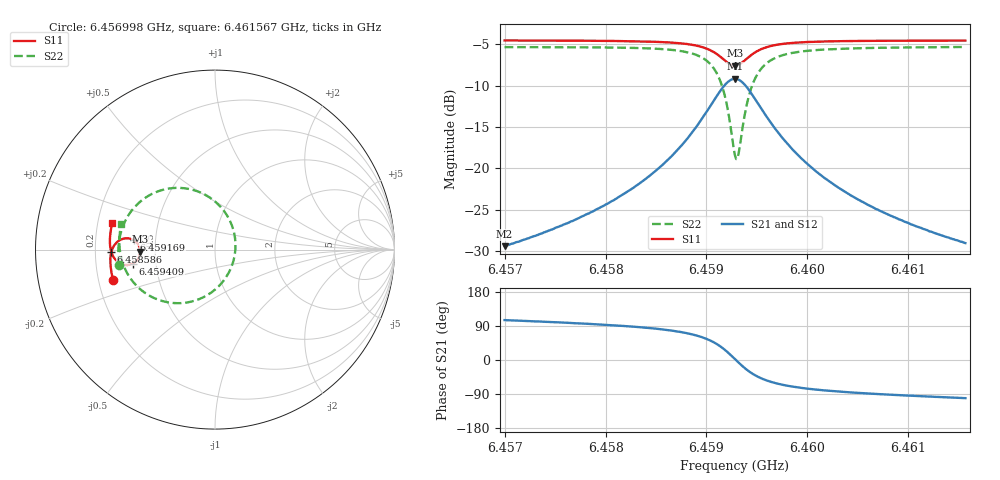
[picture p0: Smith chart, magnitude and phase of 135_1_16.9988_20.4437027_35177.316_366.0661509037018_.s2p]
#  HZ  S  RI  R  50.00
! Rohde & Schwarz Vector Network Analyzer
! Rohde-Schwarz,ZNB20-2Port,1311601062101988,3.16
! Created: UTC 3/20/2024, 10:58:06 PM
! freq[Hz]  re:S11  im:S11  re:S21  im:S21  re:S12  im:S12  re:S22  im:S22
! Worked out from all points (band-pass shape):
!   401 points, 6.456998 GHz to 6.461567 GHz, reference 50 ohm
!   highest |S21| = -9.18 dB at 6.459283 GHz (marker M1); lowest = -29.4 dB at 6.456998 GHz (marker M2)
!   |S21| within 3 dB of the highest: 6.459054 GHz to 6.459511 GHz (457.2 kHz wide, 0.00708 % of centre)
!   lowest |S11| = -7.6 dB at 6.459283 GHz (marker M3), VSWR 2.43, Z = 20.6 - j0.567 ohm
!   |S11| at or under -10 dB: nowhere
!   |S22| runs from -18.9 to -5.3 dB; largest |S21 - S12| = 0.014
!   S11 on the Smith chart (normalised r, x): 6.456998 GHz: 0.26, -0.14; 6.458586 GHz: 0.27, -0.01; 6.459169 GHz: 0.38, +0.05; 6.459409 GHz: 0.37, -0.07; 6.461567 GHz: 0.26, +0.12
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6.4569985e9  -0.5665 -0.1718  -0.00891 0.0326  -0.00721 0.0327  -0.5331 -0.0832
6.4577637e9  -0.5805 -0.1048  -0.00549 0.0508  -0.00304 0.0502  -0.5382 0.00682
6.4581749e9  -0.5834 -0.0635  0.000181 0.0696  0.00342 0.0683  -0.5303 0.072
6.458529e9  -0.5795 -0.0211  0.0144 0.0992  0.0183 0.0966  -0.5041 0.1519
6.4585861e9  -0.5777 -0.0131  0.0189 0.1063  0.0228 0.1033  -0.4959 0.1685
6.4587917e9  -0.5646 0.0189  0.0465 0.1389  0.0505 0.134  -0.4439 0.2412
6.4589402e9  -0.5417 0.0453  0.0921 0.1697  0.0953 0.163  -0.3598 0.3057
6.4590773e9  -0.4975 0.0628  0.1799 0.1861  0.181 0.1788  -0.1996 0.3439
6.4591687e9  -0.4525 0.0523  0.2705 0.1544  0.2707 0.1486  -0.0323 0.2923
6.4592372e9  -0.4232 0.0199  0.3309 0.0818  0.3332 0.0766  0.0828 0.1616
6.4592829e9  -0.4164 -0.0114  0.3473 0.0136  0.3509 0.0065  0.1143 0.0341
6.4592943e9  -0.417 -0.0195  0.347 -0.00438  0.3509 -0.012  0.1137 0.000281
6.4593172e9  -0.4205 -0.0353  0.3412 -0.0391  0.3451 -0.0482  0.1021 -0.0656
6.4593629e9  -0.4362 -0.0616  0.3125 -0.099  0.3145 -0.1111  0.0437 -0.1786
6.4594086e9  -0.4584 -0.0779  0.2701 -0.1403  0.2692 -0.1535  -0.0419 -0.2529
6.4594999e9  -0.502 -0.0849  0.1848 -0.1713  0.1788 -0.1827  -0.2111 -0.2985
6.4596484e9  -0.5461 -0.0644  0.0968 -0.1574  0.0883 -0.1633  -0.3785 -0.2487
6.4598083e9  -0.5679 -0.0368  0.0519 -0.1294  0.0441 -0.1321  -0.459 -0.1765
6.4600482e9  -0.5807 -0.00145  0.0224 -0.0977  0.0167 -0.0983  -0.507 -0.094
6.4604023e9  -0.5855 0.0408  0.00624 -0.0701  0.002 -0.0696  -0.5288 -0.0127
6.4608135e9  -0.5837 0.0822  -0.0013 -0.0521  -0.00421 -0.0513  -0.5327 0.0532
6.4615674e9  -0.5721 0.149  -0.00653 -0.0347  -0.00813 -0.0339  -0.5216 0.1425
